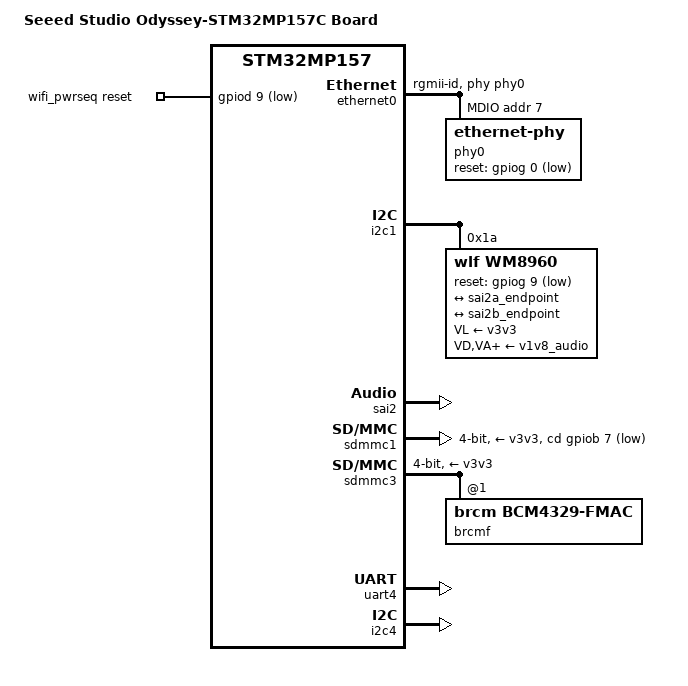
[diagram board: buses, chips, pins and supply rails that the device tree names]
// SPDX-License-Identifier: (GPL-2.0+ OR BSD-3-Clause)
/*
 * Copyright (C) 2020 Marcin Sloniewski <marcin.sloniewski@gmail.com>.
 */

/dts-v1/;

#include "stm32mp157c-odyssey-som.dtsi"

/ {
	model = "Seeed Studio Odyssey-STM32MP157C Board";
	compatible = "seeed,stm32mp157c-odyssey",
		     "seeed,stm32mp157c-odyssey-som", "st,stm32mp157";

	aliases {
		ethernet0 = &ethernet0;
		serial0 = &uart4;
		i2c0    = &i2c2;
		i2c1    = &i2c4;        /* RPi compatible */
		i2c2    = &i2c1;
	};

	chosen {
		stdout-path = "serial0:115200n8";
	};

	wifi_pwrseq: wifi-pwrseq {
		compatible = "mmc-pwrseq-simple";
		reset-gpios = <&gpiod 9 GPIO_ACTIVE_LOW>;
		post-power-on-delay-ms = <1>;
	};

	sound {
		compatible = "audio-graph-card";
		label = "STM32MP1-SEEEDNPi";
		widgets =
			"Microphone", "Mic Jack",
			"Headphone", "Headphone Jack";
		simple-audio-card,routing =
			"Headphone Jack", "HP_L",
			"Headphone Jack", "HP_R",
			"LINPUT1", "MICB",
			"LINPUT1", "Mic Jack",
			"RINPUT1", "Mic Jack";
		dais = <&sai2a_port &sai2b_port>;
		status = "okay";
	};
};

&ethernet0 {
	status = "okay";
	pinctrl-0 = <&ethernet0_rgmii_pins_a>;
	pinctrl-1 = <&ethernet0_rgmii_sleep_pins_a>;
	pinctrl-names = "default", "sleep";
	phy-mode = "rgmii-id";
	max-speed = <1000>;
	phy-handle = <&phy0>;
	assigned-clocks = <&rcc ETHCK_K>, <&rcc PLL4_P>;
	assigned-clock-parents = <&rcc PLL4_P>;
	assigned-clock-rates = <125000000>; /* Clock PLL4 to 750Mhz in ATF/U-Boot */
	st,eth-clk-sel;

	mdio0 {
		#address-cells = <1>;
		#size-cells = <0>;
		compatible = "snps,dwmac-mdio";
		phy0: ethernet-phy@7 { /* KSZ9031RN */
			reg = <7>;
			reset-gpios = <&gpiog 0 GPIO_ACTIVE_LOW>; /* ETH_RST# */
			reset-assert-us = <10000>;
			reset-deassert-us = <300>;
		};
	};
};

&i2c1 {
	pinctrl-names = "default", "sleep";
	pinctrl-0 = <&i2c1_pins_b>;
	pinctrl-1 = <&i2c1_sleep_pins_b>;
	i2c-scl-rising-time-ns = <100>;
	i2c-scl-falling-time-ns = <7>;
	status = "okay";
	/delete-property/dmas;
	/delete-property/dma-names;

	wm8960: wm8960@1a {
		compatible = "wlf,wm8960";
		reg = <0x1a>;
		#sound-dai-cells = <0>;
		VL-supply = <&v3v3>;
		VD-supply = <&v1v8_audio>;
		VA-supply = <&v1v8_audio>;
		VAHP-supply = <&v1v8_audio>;
		reset-gpios = <&gpiog 9 GPIO_ACTIVE_LOW>;
		clocks = <&sai2a>;
		clock-names = "mclk";
		status = "okay";
		wlf,shared-lrclk;

		wm8960_port: port {
			#address-cells = <1>;
			#size-cells = <0>;

			wm8960_tx_endpoint: endpoint@0 {
				reg = <0>;
				remote-endpoint = <&sai2a_endpoint>;
				frame-master;
				bitclock-master;
			};

			wm8960_rx_endpoint: endpoint@1 {
				reg = <1>;
				remote-endpoint = <&sai2b_endpoint>;
				frame-master;
				bitclock-master;
			};
		};
	};
};

&sai2 {
	clocks = <&rcc SAI2>, <&rcc PLL3_Q>, <&rcc PLL3_R>;
	clock-names = "pclk", "x8k", "x11k";
	pinctrl-names = "default", "sleep";
	pinctrl-0 = <&sai2a_pins_a>, <&sai2b_pins_b>;
	pinctrl-1 = <&sai2a_sleep_pins_a>, <&sai2b_sleep_pins_b>;
	status = "okay";

	sai2a: audio-controller@4400b004 {
		#clock-cells = <0>;
		dma-names = "tx";
		clocks = <&rcc SAI2_K>;
		clock-names = "sai_ck";
		status = "okay";

		sai2a_port: port {
			sai2a_endpoint: endpoint {
				remote-endpoint = <&wm8960_tx_endpoint>;
				format = "i2s";
				mclk-fs = <256>;
				dai-tdm-slot-num = <2>;
				dai-tdm-slot-width = <0>;
			};
		};
	};

	sai2b: audio-controller@4400b024 {
		dma-names = "rx";
		st,sync = <&sai2a 2>;
		clocks = <&rcc SAI2_K>, <&sai2a>;
		clock-names = "sai_ck", "MCLK";
		status = "okay";

		sai2b_port: port {
			sai2b_endpoint: endpoint {
				remote-endpoint = <&wm8960_rx_endpoint>;
				format = "i2s";
				mclk-fs = <256>;
				dai-tdm-slot-num = <2>;
				dai-tdm-slot-width = <0>;
			};
		};
	};
};

&sdmmc1 {
	pinctrl-names = "default", "opendrain", "sleep";
	pinctrl-0 = <&sdmmc1_b4_pins_a>;
	pinctrl-1 = <&sdmmc1_b4_od_pins_a>;
	pinctrl-2 = <&sdmmc1_b4_sleep_pins_a>;
	cd-gpios = <&gpiob 7 (GPIO_ACTIVE_LOW | GPIO_PULL_UP)>;
	disable-wp;
	st,neg-edge;
	bus-width = <4>;
	vmmc-supply = <&v3v3>;
	status = "okay";
};

&sdmmc3 {
	pinctrl-names = "default", "opendrain", "sleep";
	pinctrl-0 = <&sdmmc3_b4_pins_s>;
	pinctrl-1 = <&sdmmc3_b4_od_pins_s>;
	pinctrl-2 = <&sdmmc3_b4_sleep_pins_s>;
	bus-width = <4>;
	vmmc-supply = <&v3v3>;
	mmc-pwrseq = <&wifi_pwrseq>;
	status = "okay";
	keep-power-in-suspend;

	#address-cells = <1>;
	#size-cells = <0>;
	brcmf: bcrmf@1 {
		reg = <1>;
		compatible = "brcm,bcm4329-fmac";
	};
};

&uart4 {
	pinctrl-names = "default";
	pinctrl-0 = <&uart4_pins_a>;
	status = "okay";
};

&i2c4 {
	pinctrl-names = "default", "sleep";
	pinctrl-0 = <&i2c4_pins_s>;
	pinctrl-1 = <&i2c4_pins_sleep_s>;
	i2c-scl-rising-time-ns = <185>;
	i2c-scl-falling-time-ns = <20>;
	status = "okay";
	/delete-property/dmas;
	/delete-property/dma-names;
};
